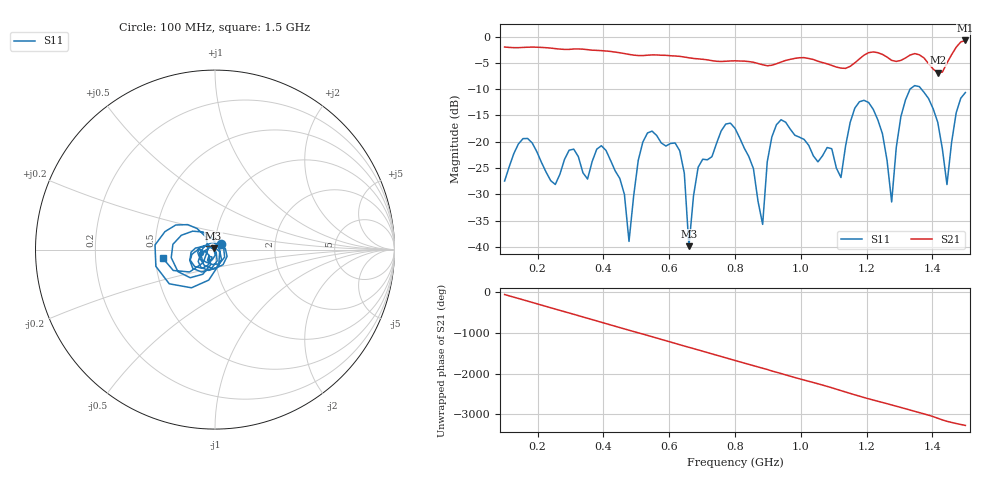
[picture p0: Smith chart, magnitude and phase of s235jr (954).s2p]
! NanoVNA-App
! Date: 2025-09-25 15:11:35
! Start: 100MHz Stop: 1,5GHz Points: 101
! S-Parameter data: F S11 S21 S12 S22
# Hz S RI R 50
!  Frequency  S11_Real  S11_Imag  S21_Real  S21_Imag  S12_Real  S12_Imag  S22_Real  S22_Imag
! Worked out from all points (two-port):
!   101 points, 100 MHz to 1.5 GHz, reference 50 ohm
!   highest |S21| = -0.71 dB at 1.5 GHz (marker M1); lowest = -6.8 dB at 1.416 GHz (marker M2)
!   |S21| within 3 dB of the highest: start of sweep to 627.1 MHz; 1.188 GHz to 1.258 GHz (69.48 MHz wide, 5.68 % of centre) (the widest 2 of 4)
!   lowest |S11| = -39.9 dB at 660 MHz (marker M3), VSWR 1.02, Z = 49.2 + j0.633 ohm
!   |S11| at or under -10 dB: start of sweep to 1.332 GHz; 1.367 GHz to end of sweep
!   S12 and S22 are empty: the file has one direction only
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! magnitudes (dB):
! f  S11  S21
! 100 MHz  -27.5  -2.0
! 156 MHz  -19.4  -2.0
! 338 MHz  -25.9  -2.4
! 408 MHz  -21.6  -2.7
! 478 MHz  -39.0  -3.4
! 520 MHz  -20.1  -3.6
! 576 MHz  -20.2  -3.5
! 632 MHz  -21.7  -3.7
! 660 MHz  -39.9  -4.0
! 688 MHz  -24.9  -4.2
! 800 MHz  -17.4  -4.6
! 884 MHz  -35.7  -5.3
! 926 MHz  -16.8  -5.1
! 1.038 GHz  -22.7  -4.3
! 1.122 GHz  -26.8  -6.0
! 1.164 GHz  -13.6  -5.0
! 1.206 GHz  -12.5  -3.0
! 1.276 GHz  -31.5  -4.5
! 1.332 GHz  -9.9  -3.5
! 1.416 GHz  -16.3  -6.8
! 1.444 GHz  -28.1  -5.0
! 1.5 GHz  -10.6  -0.7
